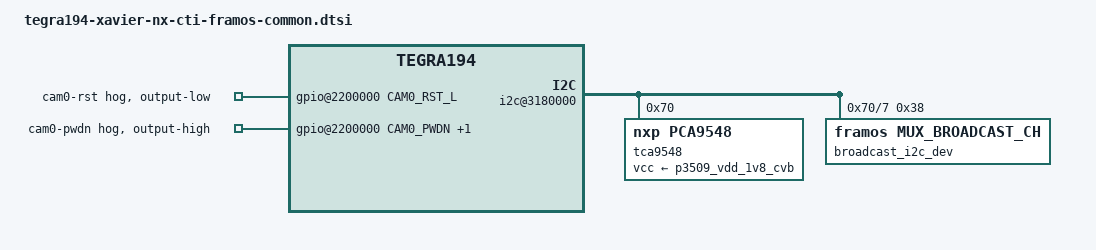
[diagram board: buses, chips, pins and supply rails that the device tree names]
/*
 * Copyright (c) 2015-2019, FRAMOS CORPORATION.  All rights reserved.
 *
 * This program is free software; you can redistribute it and/or modify
 * it under the terms of the GNU General Public License as published by
 * the Free Software Foundation; either version 2 of the License, or
 * (at your option) any later version.
 *
 * This program is distributed in the hope that it will be useful, but WITHOUT
 * ANY WARRANTY; without even the implied warranty of MERCHANTABILITY or
 * FITNESS FOR A PARTICULAR PURPOSE.  See the GNU General Public License for
 * more details.
 *
 * You should have received a copy of the GNU General Public License
 * along with this program.  If not, see <http://www.gnu.org/licenses/>.
 */

#define CAM0_RST_L	TEGRA194_MAIN_GPIO(H, 3)
#define CAM0_PWDN	TEGRA194_MAIN_GPIO(P, 4)
#define CAM1_PWDN	TEGRA194_MAIN_GPIO(P, 5)

#define CAMERA_I2C_MUX_BUS(x) (0x1E + x)

/ {

    framos_platform_adapter {
		cam,use-cam-gpio = "true"; 
    };
	
	host1x {
		vi@15c10000 {
			framos_channel;
		};
	};

	gpio@2200000 {
		camera-control-output-low {
			gpio-hog;
			output-low;
			gpios = <CAM0_RST_L 0>;
			label = "cam0-rst";
		};
		camera-control-output-high {
			gpio-hog;
			output-high;
			gpios = <CAM0_PWDN 0 CAM1_PWDN 0>;
			label = "cam0-pwdn", "cam1-pwdn";
		};
	};

	i2c@3180000 {
		tca9548@70 {
			compatible = "nxp,pca9548";
			reg = <0x70>;
			#address-cells = <1>;
			#size-cells = <0>;
			skip_mux_detect;
			vcc-supply = <&p3509_vdd_1v8_cvb>;
            force_bus_start = <CAMERA_I2C_MUX_BUS(0)>;

            /* Channel connected to J5 */
			i2c@0 {
				reg = <0>;
				i2c-mux,deselect-on-exit;
				#address-cells = <1>;
				#size-cells = <0>;
            };

            /* Channel connected to J5 */
			i2c@1 {
				reg = <1>;
				i2c-mux,deselect-on-exit;
				#address-cells = <1>;
				#size-cells = <0>;
            };

            /* Channel connected to J6 */
			i2c@2 {
				reg = <2>;
				i2c-mux,deselect-on-exit;
				#address-cells = <1>;
				#size-cells = <0>;
            };

            /* Channel connected to J6 */
			i2c@3 {
				reg = <3>;
				i2c-mux,deselect-on-exit;
				#address-cells = <1>;
				#size-cells = <0>;
            };

            /* Channel connected to J7 */
            i2c@4 {
				reg = <4>;
				i2c-mux,deselect-on-exit;
				#address-cells = <1>;
				#size-cells = <0>;
            };

            /* Channel connected to J8 */
            i2c@6 {
				reg = <6>;
				i2c-mux,deselect-on-exit;
				#address-cells = <1>;
				#size-cells = <0>;
            };

			i2c@7 { /* Broadcast MUX channel */
				reg = <7>;
				i2c-mux,deselect-on-exit;
				#address-cells = <1>;
				#size-cells = <0>;
                broadcast_i2c_dev@38 {
                    compatible = "framos, mux_broadcast_ch";
                    device = "i2c-mux";
                    reg = <0x38>;
                    status = "okay";
                };

            };
        };
	};
};
